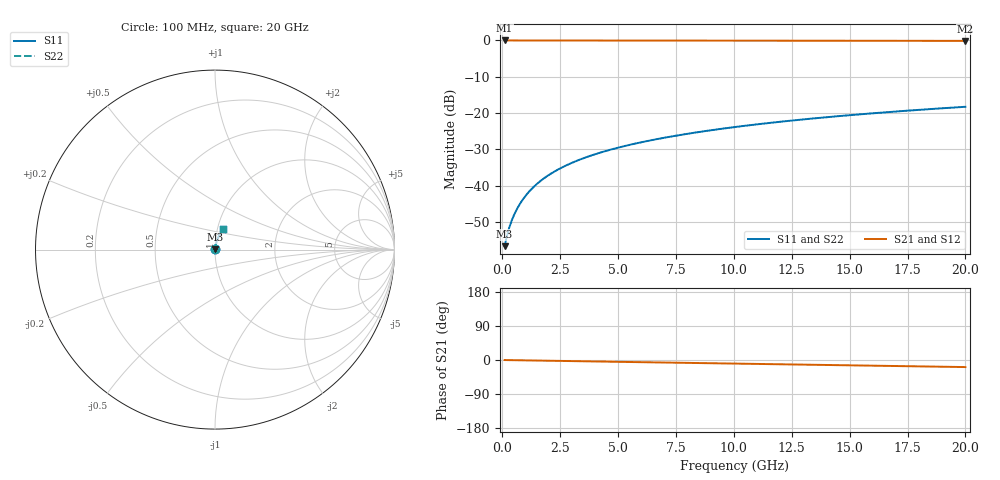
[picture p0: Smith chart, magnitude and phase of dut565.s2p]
! Touchstone file exported from HFSS 2026.1.0
!  File:  C:/ffzhzh/LocalFiles/Ansys_Project_Files/temp_train_TMRDL_565_1783007934_55676.aedt
!  Generated:  12:00:22 AM Jul  3, 2026
!  Design:  TMRDL
!  Project:  temp_train_TMRDL_565_1783007934_55676
! Variables:
!  h_bsmrdl = 2um
!  h_ox = 20um
!  h_rdl = 5um
!  h_sub = 80um
!  h_tmrdl = 5.54um
!  h_tsv = 80um
!  h_via = 3um
!  l_bsmrdl = 300um
!  l_sub = 696.42um
!  l_tmrdl = 296.42um
!  m_sub = 200um
!  pitch = 30.47um
!  r_tsv = 6um
!  s_tmrdl = 10um
!  w_bsmrdl = 18um
!  w_sub = 500um
!  w_tmrdl = 17.63um
!  x_tsv_center1 = 305.235um
!  x_tsv_center2 = 623.235um
!  x_tsv_center3 = 937.285um
!  x_tsv_center4 = 1255.285um
!  x_tsv_center5 = 1569.335um
!  x_tsv_center6 = 1887.335um
# GHz S MA R 50.000000
! Terminal data exported
! Port[1] = TM_RDL1_1_T1
! Port[2] = TM_RDL1_1_T2
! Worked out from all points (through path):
!   200 points, 100 MHz to 20 GHz, reference 50 ohm
!   highest |S21| = -0.01 dB at 100 MHz (marker M1); lowest = -0.1 dB at 20 GHz (marker M2)
!   group delay of S21, straight-line fit = 2.58 ps
!   lowest |S11| = -56.7 dB at 100 MHz (marker M3), VSWR 1.00, Z = 50.1 + j0.0814 ohm
!   |S11| at or under -10 dB: start of sweep to end of sweep
!   |S22| runs from -56.7 to -18.3 dB; largest |S21 - S12| = 5.4e-15
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0.1  0.001464 33.7  0.9988 -0.1  0.9988 -0.1  0.001464 33.7
! Gamma 0 0 0 0
! Port Impedance 50 0 50 0
0.2  0.00203 49.7  0.9987 -0.2  0.9987 -0.2  0.00203 49.7
0.3  0.002636 58.2  0.9986 -0.3  0.9986 -0.3  0.002636 58.2
0.4  0.003257 63.6  0.9986 -0.4  0.9986 -0.4  0.003256 63.6
0.5  0.003892 67.4  0.9985 -0.5  0.9985 -0.5  0.003892 67.4
0.6  0.004539 70.2  0.9985 -0.6  0.9985 -0.6  0.004539 70.2
0.8  0.00586 73.9  0.9984 -0.8  0.9984 -0.8  0.00586 73.9
1  0.0072 76.2  0.9983 -1.0  0.9983 -1.0  0.0072 76.2
1.2  0.008549 77.6  0.9983 -1.2  0.9983 -1.2  0.008549 77.6
1.4  0.0099 78.6  0.9982 -1.4  0.9982 -1.4  0.0099 78.6
1.7  0.01192 79.5  0.9981 -1.7  0.9981 -1.7  0.01192 79.5
2.2  0.01528 80.1  0.9978 -2.1  0.9978 -2.1  0.01528 80.1
2.8  0.01924 80.3  0.9975 -2.7  0.9975 -2.7  0.01924 80.3
3.5  0.02379 80.2  0.997 -3.4  0.997 -3.4  0.02379 80.2
4.2  0.02827 79.8  0.9966 -4.1  0.9966 -4.1  0.02827 79.9
5  0.03331 79.4  0.9961 -4.8  0.9961 -4.8  0.03331 79.4
6.8  0.04444 78.3  0.995 -6.5  0.995 -6.5  0.04444 78.3
8.3  0.05358 77.2  0.994 -7.9  0.994 -7.9  0.05358 77.2
10.1  0.06442 75.9  0.9929 -9.6  0.9929 -9.6  0.06442 75.9
13.4  0.08399 73.4  0.9906 -12.6  0.9906 -12.6  0.08399 73.4
16.7  0.1031 70.7  0.9881 -15.7  0.9881 -15.7  0.1031 70.7
20  0.1218 68.0  0.9854 -18.7  0.9854 -18.7  0.1218 68.0
